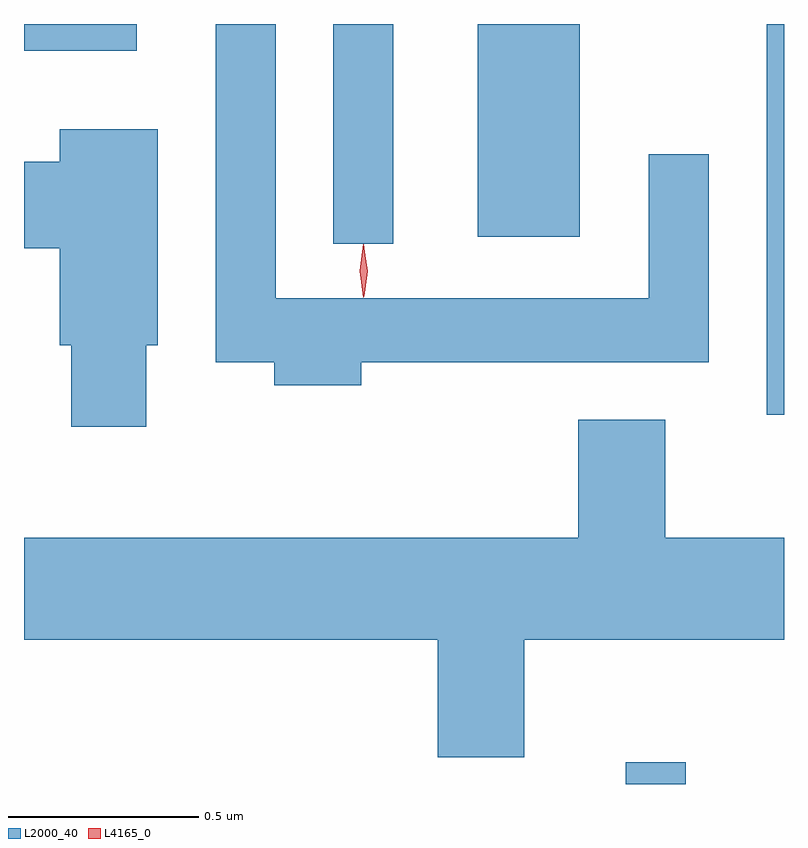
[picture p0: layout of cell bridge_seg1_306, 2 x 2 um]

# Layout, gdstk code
import gdstk
lib = gdstk.Library(unit=1e-6, precision=1e-09)
def R(c, l, rs):  # rectangles x0, y0, x1, y1
    for r in rs: c.add(gdstk.rectangle(r[:2], r[2:], *l))
def P(c, l, *ps):  # polygons
    for p in ps: c.add(gdstk.Polygon(p, *l))
L2000_40 = (2000, 40)
L4165_0 = (4165, 0)

bridge_seg1_306 = lib.new_cell('bridge_seg1_306')
R(bridge_seg1_306, L2000_40, [(892.376,881.436,892.534,881.493), (892.746,882.408,892.792,883.436), (891.606,882.858,891.764,883.436), (891.986,882.876,892.254,883.436), (890.792,883.366,891.089,883.436)])
P(bridge_seg1_306, L2000_40, [(891.679,882.546),(892.594,882.546),(892.594,883.093),(892.436,883.093),(892.436,882.714),(891.454,882.714),(891.454,883.436),(891.296,883.436),(891.296,882.546),(891.451,882.546),(891.451,882.486),(891.679,882.486)],
  [(891.114,882.591),(891.144,882.591),(891.144,883.159),(890.886,883.159),(890.886,883.074),(890.792,883.074),(890.792,882.846),(890.886,882.846),(890.886,882.591),(890.916,882.591),(890.916,882.376),(891.114,882.376)],
  [(892.109,881.816),(892.792,881.816),(892.792,882.084),(892.479,882.084),(892.479,882.394),(892.251,882.394),(892.251,882.084),(890.792,882.084),(890.792,881.816),(891.881,881.816),(891.881,881.506),(892.109,881.506)])
P(bridge_seg1_306, L4165_0, [(891.686,882.719),(891.686,882.72),(891.676,882.786),(891.686,882.852),(891.686,882.853),(891.686,882.852),(891.696,882.786),(891.687,882.72)],
  [(891.685,882.717),(891.676,882.787),(891.685,882.856),(891.686,882.856),(891.686,882.856),(891.695,882.787),(891.686,882.717),(891.686,882.717)])

lib.write_gds('bridge_seg1_306.gds')
